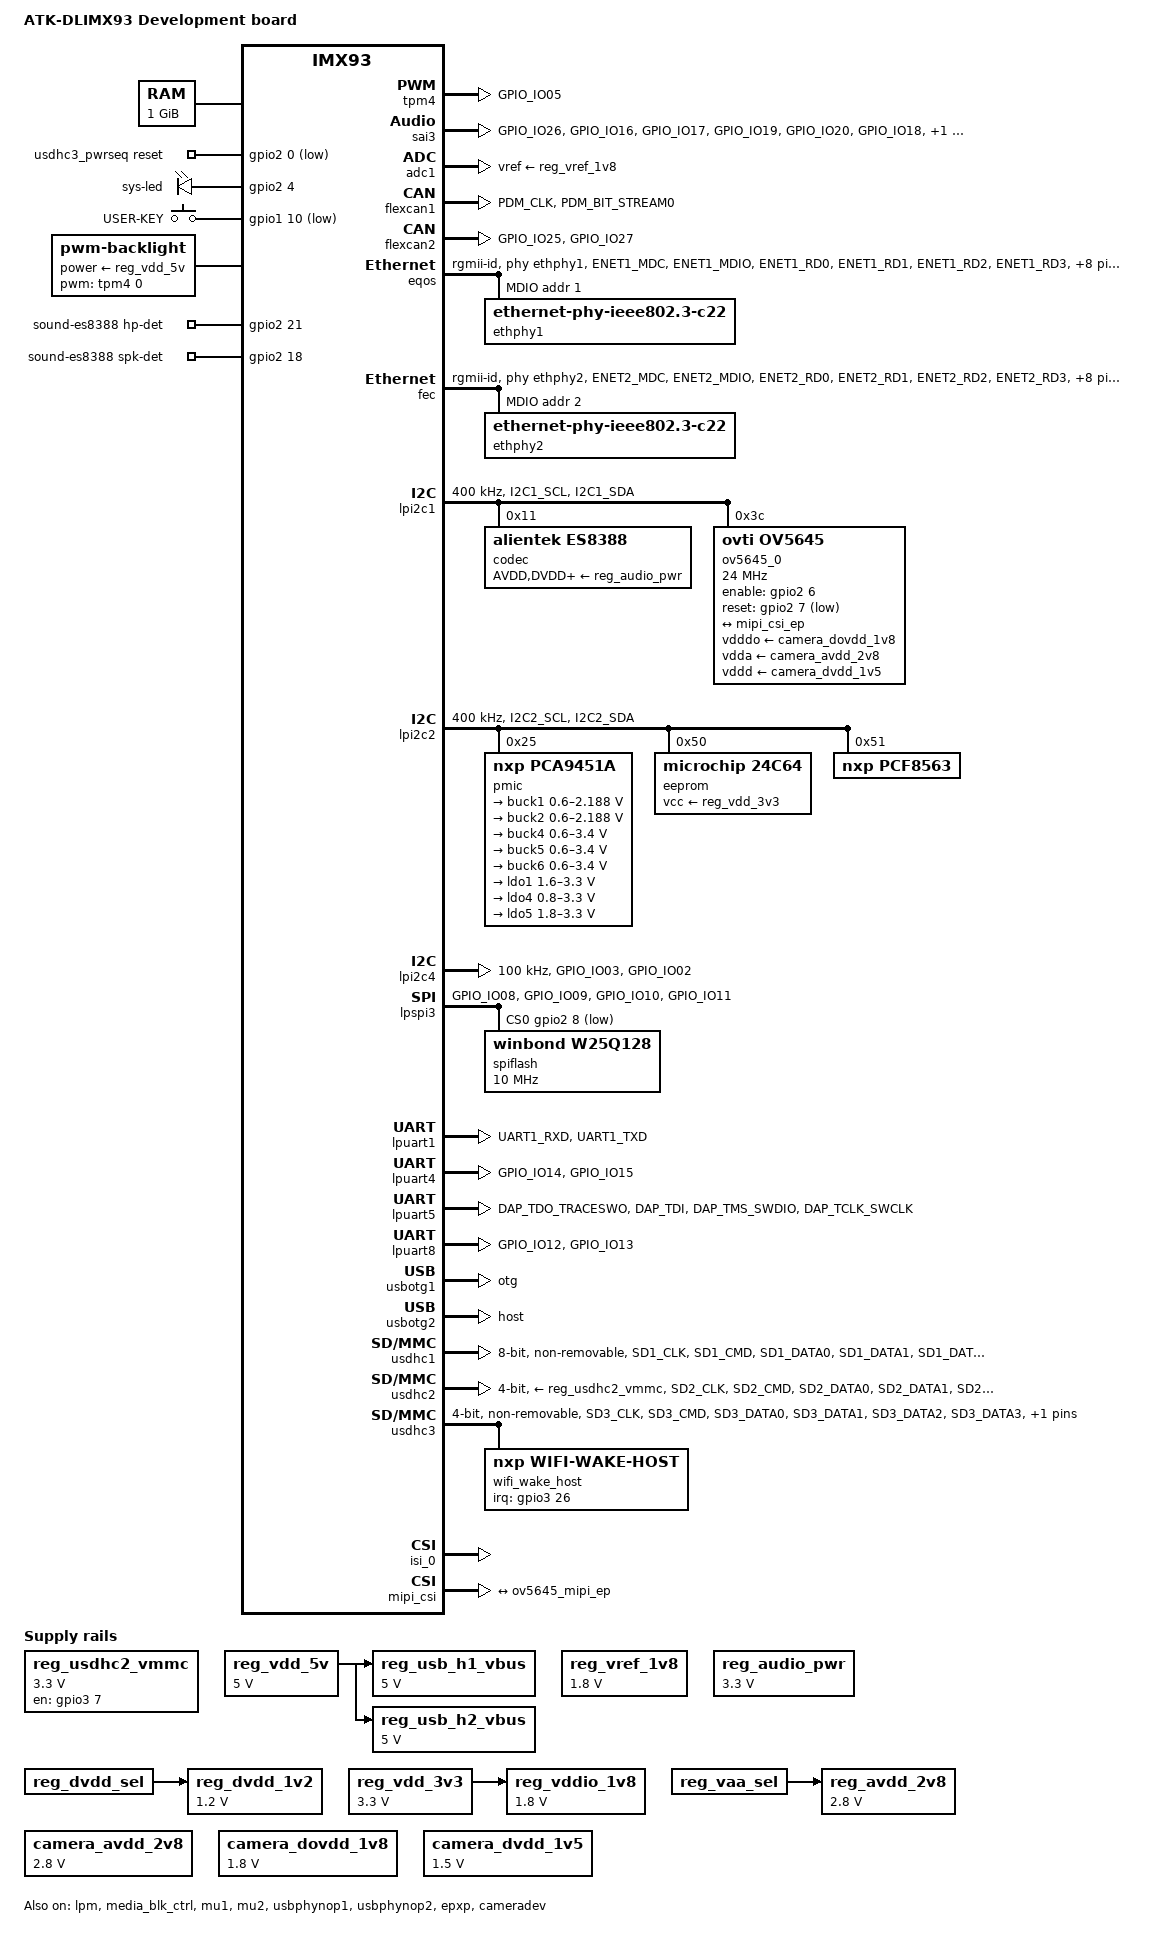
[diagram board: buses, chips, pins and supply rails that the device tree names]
// SPDX-License-Identifier: (GPL-2.0+ OR MIT)
/*
 * Copyright 2022 NXP
 */

/dts-v1/;

#include <dt-bindings/usb/pd.h>
#include "imx93.dtsi"

&ele_mu {
	memory-region = <&ele_reserved>;
};

/ {
	model = "ATK-DLIMX93 Development board";
	compatible = "fsl,imx93-11x11-atk", "fsl,imx93";

	chosen {
		stdout-path = &lpuart1;
	};


	memory@80000000 {
		device_type = "memory";
		/* 1G RAM */
		reg = <0x00000000 0x80000000 0x00000000 0x40000000>;
	};


	reserved-memory {
		#address-cells = <2>;
		#size-cells = <2>;
		ranges;


		linux,cma {
			compatible = "shared-dma-pool";
			reusable;
			alloc-ranges = <0 0x80000000 0 0x20000000>;
			size = <0 0x8000000>;
			linux,cma-default;
		};

		ethosu_mem: ethosu_region@a0000000 {
			compatible = "shared-dma-pool";
			reusable;
			reg = <0x0 0xa0000000 0x0 0x8000000>;
		};

		vdev0vring0: vdev0vring0@a8000000 {
			reg = <0 0xa8000000 0 0x8000>;
			no-map;
		};

		vdev0vring1: vdev0vring1@a8008000 {
			reg = <0 0xa8008000 0 0x8000>;
			no-map;
		};

		vdev1vring0: vdev1vring0@a8010000 {
			reg = <0 0xa8010000 0 0x8000>;
			no-map;
		};

		vdev1vring1: vdev1vring1@a8018000 {
			reg = <0 0xa8018000 0 0x8000>;
			no-map;
		};

		rsc_table: rsc-table@2021e000 {
			reg = <0 0x2021e000 0 0x1000>;
			no-map;
		};

		vdevbuffer: vdevbuffer@a8020000 {
			compatible = "shared-dma-pool";
			reg = <0 0xa8020000 0 0xA00000>;
			no-map;
		};

		ele_reserved: ele-reserved@a8120000 {
			compatible = "shared-dma-pool";
			reg = <0 0xa8120000 0 0x100000>;
			no-map;
		};


	};

	cm33: imx93-cm33 {
		compatible = "fsl,imx93-cm33";
		mbox-names = "tx", "rx", "rxdb";
		mboxes = <&mu1 0 1
			  &mu1 1 1
			  &mu1 3 1>;
		memory-region = <&vdevbuffer>, <&vdev0vring0>, <&vdev0vring1>,
				<&vdev1vring0>, <&vdev1vring1>, <&rsc_table>;
		fsl,startup-delay-ms = <500>;
	};

	ethosu {
		compatible = "arm,ethosu";
		fsl,cm33-proc = <&cm33>;
		memory-region = <&ethosu_mem>;
		power-domains = <&mlmix>;
	};

	reg_usdhc2_vmmc: regulator-usdhc2 {
		compatible = "regulator-fixed";
		pinctrl-names = "default";
		pinctrl-0 = <&pinctrl_reg_usdhc2_vmmc>;
		regulator-name = "VSD_3V3";
		regulator-min-microvolt = <3300000>;
		regulator-max-microvolt = <3300000>;
		gpio = <&gpio3 7 GPIO_ACTIVE_HIGH>;
		off-on-delay-us = <12000>;
		enable-active-high;
	};

	reg_vdd_5v: regulator-vdd-5v {
		compatible = "regulator-fixed";
		regulator-name = "reg_vdd_5v";
		regulator-min-microvolt = <5000000>;
		regulator-max-microvolt = <5000000>;
	};

	reg_vref_1v8: regulator-adc-vref {
		compatible = "regulator-fixed";
		regulator-name = "vref_1v8";
		regulator-min-microvolt = <1800000>;
		regulator-max-microvolt = <1800000>;
	};

	usdhc3_pwrseq: usdhc3_pwrseq {
		compatible = "mmc-pwrseq-simple";
		reset-gpios = <&gpio2 0 GPIO_ACTIVE_LOW>;
	};

	reg_audio_pwr: regulator-audio-pwr {
		compatible = "regulator-fixed";
		regulator-name = "audio-pwr";
		regulator-min-microvolt = <3300000>;
		regulator-max-microvolt = <3300000>;
		enable-active-high;
		regulator-always-on;
	};

	reg_dvdd_sel: regulator-dvdd_sel {
		compatible = "regulator-fixed";
		regulator-name = "DVDD_SEL";
		enable-active-high;
		startup-delay-us = <2000>;
	};

	reg_dvdd_1v2: regulator-dvdd {
		compatible = "regulator-fixed";
		regulator-name = "DVDD_1V2";
		regulator-min-microvolt = <1200000>;
		regulator-max-microvolt = <1200000>;
		enable-active-high;
		vin-supply = <&reg_dvdd_sel>;
	};

	reg_vdd_3v3: regulator-vdd {
		compatible = "regulator-fixed";
		regulator-name = "VDD_3V3";
		regulator-min-microvolt = <3300000>;
		regulator-max-microvolt = <3300000>;
		startup-delay-us = <4000>;
		enable-active-high;
	};

	reg_vddio_1v8: regulator-vddo {
		compatible = "regulator-fixed";
		regulator-name = "VDDIO_1V8";
		regulator-min-microvolt = <1800000>;
		regulator-max-microvolt = <1800000>;
		startup-delay-us = <4000>;
		enable-active-high;
		vin-supply = <&reg_vdd_3v3>;
	};

	reg_vaa_sel: regulator-vaa_sel {
		compatible = "regulator-fixed";
		regulator-name = "VAA_SEL";
		enable-active-high;
	};

	reg_avdd_2v8: regulator-avdd {
		compatible = "regulator-fixed";
		regulator-name = "AVDD_2V8";
		regulator-min-microvolt = <2800000>;
		regulator-max-microvolt = <2800000>;
		enable-active-high;
		vin-supply = <&reg_vaa_sel>;
	};

	camera_avdd_2v8: regulator-avdd {
		compatible = "regulator-fixed";
		regulator-name = "CAMERA_AVDD_2V8";
		regulator-min-microvolt = <2800000>;
		regulator-max-microvolt = <2800000>;
		regulator-always-on;
	};

	camera_dovdd_1v8: regulator-dovdd {
		compatible = "regulator-fixed";
		regulator-name = "CAMERA_DOVDD_1V8";
		regulator-min-microvolt = <1800000>;
		regulator-max-microvolt = <1800000>;
		regulator-always-on;
	};

	camera_dvdd_1v5: regulator-dvdd {
		compatible = "regulator-fixed";
		regulator-name = "CAMERA_DVDD_1V5";
		regulator-min-microvolt = <1500000>;
		regulator-max-microvolt = <1500000>;
		regulator-always-on;
	};

	reg_usb_h1_vbus: regulator-usb-h1-vbus {	//atk add
		compatible = "regulator-fixed";
		regulator-name = "usb_h1_vbus";
		regulator-min-microvolt = <5000000>;
		regulator-max-microvolt = <5000000>;
		regulator-always-on;
		vin-supply = <&reg_vdd_5v>;
	};

	reg_usb_h2_vbus: regulator-usb-h2-vbus {
		compatible = "regulator-fixed";
		regulator-name = "usb_h2_vbus";
		regulator-min-microvolt = <5000000>;
		regulator-max-microvolt = <5000000>;
		vin-supply = <&reg_vdd_5v> ;
		regulator-always-on;
	};

	leds {
		compatible = "gpio-leds";
		pinctrl-names = "default";
		pinctrl-0 = <&pinctrl_gpio_leds>;

		led {
			label = "sys-led";
			gpios = <&gpio2 4 GPIO_ACTIVE_HIGH>;
			linux,default-trigger = "heartbeat";
			default-state = "on";
		};
	};

	gpio_keys: gpio_keys@0 {
		compatible = "gpio-keys";
		pinctrl-names = "default";
		pinctrl-0 = <&pinctrl_gpio_keys>;
		#address-cells = <1>;
		#size-cells = <0>;
		autorepeat;

		key {
			label = "USER-KEY";
			linux,code = <114>;
			gpios = <&gpio1 10 GPIO_ACTIVE_LOW>;
			gpio-key,wakeup;
		};
	};

/*
	lcd_id select_id:
		atk_imx93 = 1,	//without alientek mipi dsi
		atk_imx93_mipi_dsi_5x5_720x1280 = 2,
		atk_imx93_mipi_dsi_5x5_1080x1920 = 3,
		atk_imx93_mipi_dsi_10x1_800x1280 = 4,
*/
	lcd_id {
        select_id = <2>;
    };


	backlight: backlight {
		compatible = "pwm-backlight";
		pwms = <&tpm4 0 50000 0>; //50us -> 20KHz
		power-supply = <&reg_vdd_5v>;
		status = "okay";

		brightness-levels = < 0  1  2  3  4  5  6  7  8  9
				     10 11 12 13 14 15 16 17 18 19
				     20 21 22 23 24 25 26 27 28 29
				     30 31 32 33 34 35 36 37 38 39
				     40 41 42 43 44 45 46 47 48 49
				     50 51 52 53 54 55 56 57 58 59
				     60 61 62 63 64 65 66 67 68 69
				     70 71 72 73 74 75 76 77 78 79
				     80 81 82 83 84 85 86 87 88 89
				     90 91 92 93 94 95 96 97 98 99
				    100>;
		default-brightness-level = <100>;
	};

    sound-es8388 {
        compatible = "fsl,imx-audio-es8388";
        model = "es8388-audio";
        audio-cpu = <&sai3>;
        audio-codec = <&codec>;
        hp-det-gpio = <&gpio2 21 GPIO_ACTIVE_HIGH>;
        spk-det-gpio = <&gpio2 18 GPIO_ACTIVE_HIGH>;
        codec-master;
        audio-routing =
            "Headphone Jack", "LOUT1",
            "Headphone Jack", "ROUT1",
            "Ext Spk", "LOUT2",
            "Ext Spk", "ROUT2",
            "LINPUT1", "Mic Jack",
            "LINPUT2", "Mic Jack",
            "RINPUT2", "Mic Jack",
            "Mic Jack", "AMIC",
            "Mic Jack", "Mic Bias",
            "Playback", "CPU-Playback",
            "CPU-Capture", "Capture";
    };
};

&tpm4 {
	pinctrl-names = "default";
	pinctrl-0 = <&pinctrl_tpm4>;
	status = "okay";
};

&sai3 {
	pinctrl-names = "default";
	pinctrl-0 = <&pinctrl_sai3>,<&pinctrl_sound_es8388>;
	assigned-clocks = <&clk IMX93_CLK_SAI3>;
	assigned-clock-parents = <&clk IMX93_CLK_AUDIO_PLL>;
	assigned-clock-rates = <12288000>;
	fsl,sai-mclk-direction-output;
	status = "okay";
};
	
&adc1 {
	vref-supply = <&reg_vref_1v8>;
	status = "okay";
};

&flexcan1 {
	pinctrl-names = "default";
	pinctrl-0 = <&pinctrl_flexcan1>;
	status = "okay";
};

&flexcan2 {
	pinctrl-names = "default";
	pinctrl-0 = <&pinctrl_flexcan2>;
	status = "okay";
};

&eqos {
	pinctrl-names = "default";
	pinctrl-0 = <&pinctrl_eqos>;
	phy-mode = "rgmii-id";
	phy-handle = <&ethphy1>;
	status = "okay";

	mdio {
		compatible = "snps,dwmac-mdio";
		#address-cells = <1>;
		#size-cells = <0>;
		clock-frequency = <5000000>;

		ethphy1: ethernet-phy@1 {
			compatible = "ethernet-phy-ieee802.3-c22";
			reg = <1>;
			eee-broken-1000t;
		};
	};
};

&fec {
	pinctrl-names = "default";
	pinctrl-0 = <&pinctrl_fec>;
	phy-mode = "rgmii-id";
	phy-handle = <&ethphy2>;
	fsl,magic-packet;
	status = "okay";

	mdio {
		#address-cells = <1>;
		#size-cells = <0>;
		clock-frequency = <5000000>;

		ethphy2: ethernet-phy@2 {
			compatible = "ethernet-phy-ieee802.3-c22";
			reg = <2>;
			eee-broken-1000t;
		};
	};
};


&lpm {
	soc-supply = <&buck1>;
	status = "okay";
};

/*
 * When add, delete or change any target device setting in &lpi2c1,
 * please synchronize the changes to the &i3c1 bus in imx93-11x11-evk-i3c.dts.
 */
&lpi2c1 {
	#address-cells = <1>;
	#size-cells = <0>;
	clock-frequency = <400000>;
	pinctrl-names = "default", "sleep";
	pinctrl-0 = <&pinctrl_lpi2c1>;
	pinctrl-1 = <&pinctrl_lpi2c1>;
	status = "okay";

    codec: es8388@11 {
        compatible = "alientek,es8388";
        reg = <0x11>;
        clocks = <&clk IMX93_CLK_SAI3_GATE>;
        clock-names = "mclk";
        AVDD-supply = <&reg_audio_pwr>;
        DVDD-supply = <&reg_audio_pwr>;
        HPVDD-supply = <&reg_audio_pwr>;
        PVDD-supply = <&reg_audio_pwr>;
    };


	ov5645_0: ov5645@3c {
		compatible = "ovti,ov5645";
		reg = <0x3c>;
		pinctrl-names = "default";
		pinctrl-0 = <&pinctrl_csi_gpio>;
		clocks = <&clk IMX93_CLK_CCM_CKO3>;
		clock-names = "xclk";
		assigned-clocks = <&clk IMX93_CLK_CCM_CKO3>;
		assigned-clock-parents = <&clk IMX93_CLK_24M>;
		assigned-clock-rates = <24000000>;
		csi_id = <0>;
		enable-gpios = <&gpio2 6 GPIO_ACTIVE_HIGH>;
		reset-gpios = <&gpio2 7 GPIO_ACTIVE_LOW>;
		clock-frequency = <24000000>;
		mclk = <24000000>;
		mclk_source = <0>;
		mipi_csi;
		vdddo-supply = <&camera_dovdd_1v8>;
		vdda-supply = <&camera_avdd_2v8>;
		vddd-supply = <&camera_dvdd_1v5>;
		status = "okay";

		port {
			ov5645_mipi_ep: endpoint {
				remote-endpoint = <&mipi_csi_ep>;
				data-lanes = <1 2>;
				clock-lanes = <0>;
				link-frequencies = /bits/ 64 <336000000>;
			};
		};
	};
};

&lpi2c2 {
	#address-cells = <1>;
	#size-cells = <0>;
	clock-frequency = <400000>;
	pinctrl-names = "default", "sleep";
	pinctrl-0 = <&pinctrl_lpi2c2>;
	pinctrl-1 = <&pinctrl_lpi2c2>;
	status = "okay";

	pmic@25 {
		compatible = "nxp,pca9451a";
		reg = <0x25>;
//		interrupt-parent = <&pcal6524>;
//		interrupts = <11 IRQ_TYPE_EDGE_FALLING>;

		regulators {
			buck1: BUCK1 {
				regulator-name = "BUCK1";
				regulator-min-microvolt = <600000>;
				regulator-max-microvolt = <2187500>;
				regulator-boot-on;
				regulator-always-on;
				regulator-ramp-delay = <3125>;
			};

			buck2: BUCK2 {
				regulator-name = "BUCK2";
				regulator-min-microvolt = <600000>;
				regulator-max-microvolt = <2187500>;
				regulator-boot-on;
				regulator-always-on;
				regulator-ramp-delay = <3125>;
			};

			buck4: BUCK4{
				regulator-name = "BUCK4";
				regulator-min-microvolt = <600000>;
				regulator-max-microvolt = <3400000>;
				regulator-boot-on;
				regulator-always-on;
			};

			buck5: BUCK5{
				regulator-name = "BUCK5";
				regulator-min-microvolt = <600000>;
				regulator-max-microvolt = <3400000>;
				regulator-boot-on;
				regulator-always-on;
			};

			buck6: BUCK6 {
				regulator-name = "BUCK6";
				regulator-min-microvolt = <600000>;
				regulator-max-microvolt = <3400000>;
				regulator-boot-on;
				regulator-always-on;
			};

			ldo1: LDO1 {
				regulator-name = "LDO1";
				regulator-min-microvolt = <1600000>;
				regulator-max-microvolt = <3300000>;
				regulator-boot-on;
				regulator-always-on;
			};

			ldo4: LDO4 {
				regulator-name = "LDO4";
				regulator-min-microvolt = <800000>;
				regulator-max-microvolt = <3300000>;
				regulator-boot-on;
				regulator-always-on;
			};

			ldo5: LDO5 {
				regulator-name = "LDO5";
				regulator-min-microvolt = <1800000>;
				regulator-max-microvolt = <3300000>;
				regulator-boot-on;
				regulator-always-on;
			};
		};
	};

	eeprom@50 {
		compatible = "microchip,24c64", "atmel,24c64";
		pagesize = <32>;
		reg = <0x50>;
		vcc-supply = <&reg_vdd_3v3>;
	};

	pcf8563@51 {
		compatible = "nxp,pcf8563";
		reg = <0x51>;
	};
};

&lpi2c4 {
	#address-cells = <1>;
	#size-cells = <0>;
	clock-frequency = <100000>;
	pinctrl-names = "default", "sleep";
	pinctrl-0 = <&pinctrl_lpi2c4>;
	pinctrl-1 = <&pinctrl_lpi2c4>;
	status = "okay";
};

&lpspi3 {
	fsl,spi-num-chipselects = <1>;
	pinctrl-names = "default", "sleep";
	pinctrl-0 = <&pinctrl_lpspi3>;
	pinctrl-1 = <&pinctrl_lpspi3>;
	cs-gpios = <&gpio2 8 GPIO_ACTIVE_LOW>;
	status = "okay";
	/delete-property/dmas;
    	/delete-property/dma-names;
	
	spiflash: w25q128@0 {
		compatible = "winbond,w25q128", "jedec,spi-nor";
		spi-max-frequency = <10000000>; //10MHz
		reg = <0>;
	};
};

&lpuart1 { /* console */
	pinctrl-names = "default";
	pinctrl-0 = <&pinctrl_uart1>;
	status = "okay";
	/delete-property/dmas;
    	/delete-property/dma-names;
};

&lpuart4 {
	pinctrl-names = "default";
	pinctrl-0 = <&pinctrl_uart4>;
	status = "okay";
	/delete-property/dmas;
    	/delete-property/dma-names;
};

&lpuart5 {
	/* BT */
	pinctrl-names = "default";
	pinctrl-0 = <&pinctrl_uart5>;
	status = "okay";
	/delete-property/dmas;
    	/delete-property/dma-names;
};

&lpuart8 {
	pinctrl-names = "default";
	pinctrl-0 = <&pinctrl_uart8>;
	status = "okay";
	/delete-property/dmas;
    	/delete-property/dma-names;
};

&media_blk_ctrl {
	status = "okay";
};

&mu1 {
	status = "okay";
};

&mu2 {
	status = "okay";
};

&usbphynop1 {
	vcc-supply = <&reg_usb_h1_vbus>;
	status = "okay";
};
		
&usbphynop2 {
	vcc-supply = <&reg_usb_h2_vbus>;
	status = "okay";
};

&usbotg1 {
	dr_mode = "otg";
	hnp-disable;
	srp-disable;
	adp-disable;
//	usb-role-switch;
	disable-over-current;
	samsung,picophy-pre-emp-curr-control = <3>;
	samsung,picophy-dc-vol-level-adjust = <7>;
	status = "okay";
};

&usbotg2 {
	dr_mode = "host";
	disable-over-current;
	status = "okay";
};

&usdhc1 {
	pinctrl-names = "default", "state_100mhz", "state_200mhz";
	pinctrl-0 = <&pinctrl_usdhc1>;
	pinctrl-1 = <&pinctrl_usdhc1>;
	pinctrl-2 = <&pinctrl_usdhc1>;
	bus-width = <8>;
	non-removable;
	status = "okay";
};

&usdhc2 {
	pinctrl-names = "default", "state_100mhz", "state_200mhz";
	pinctrl-0 = <&pinctrl_usdhc2>, <&pinctrl_usdhc2_gpio>;
	pinctrl-1 = <&pinctrl_usdhc2>, <&pinctrl_usdhc2_gpio>;
	pinctrl-2 = <&pinctrl_usdhc2>, <&pinctrl_usdhc2_gpio>;
	cd-gpios = <&gpio3 00 GPIO_ACTIVE_LOW>;
	vmmc-supply = <&reg_usdhc2_vmmc>;
	bus-width = <4>;
	status = "okay";
	no-sdio;
	no-mmc;
};

&usdhc3 {
	pinctrl-names = "default", "state_100mhz", "state_200mhz";
	pinctrl-0 = <&pinctrl_usdhc3>, <&pinctrl_usdhc3_wlan>;
	pinctrl-1 = <&pinctrl_usdhc3>, <&pinctrl_usdhc3_wlan>;
	pinctrl-2 = <&pinctrl_usdhc3>, <&pinctrl_usdhc3_wlan>;
	mmc-pwrseq = <&usdhc3_pwrseq>;
	bus-width = <4>;
	keep-power-in-suspend;
	non-removable;
	wakeup-source;
	fsl,sdio-async-interrupt-enabled;
	status = "okay";

	wifi_wake_host {
		compatible = "nxp,wifi-wake-host";
		interrupt-parent = <&gpio3>;
		interrupts = <26 IRQ_TYPE_LEVEL_LOW>;
		interrupt-names = "host-wake";
	};
};

&iomuxc {
	pinctrl_gpio_leds: gpio-leds {
		fsl,pins = <
			MX93_PAD_GPIO_IO04__GPIO2_IO04			0x31e
		>;
	};

	pinctrl_gpio_keys: gpio-keys {
		fsl,pins = <
			MX93_PAD_PDM_BIT_STREAM1__GPIO1_IO10	0x31e
		>;
	};



	pinctrl_tpm4: tpm4grp {
		fsl,pins = <
			MX93_PAD_GPIO_IO05__TPM4_CH0   			0x31e
		>;
	};


	pinctrl_flexcan1: flexcan1grp {
		fsl,pins = <
			MX93_PAD_PDM_CLK__CAN1_TX				0x139e
			MX93_PAD_PDM_BIT_STREAM0__CAN1_RX		0x139e
		>;
	};

	pinctrl_flexcan2: flexcan2grp {
		fsl,pins = <
			MX93_PAD_GPIO_IO25__CAN2_TX				0x139e
			MX93_PAD_GPIO_IO27__CAN2_RX				0x139e
		>;
	};

	pinctrl_lpi2c1: lpi2c1grp {
		fsl,pins = <
			MX93_PAD_I2C1_SCL__LPI2C1_SCL			0x40000b9e
			MX93_PAD_I2C1_SDA__LPI2C1_SDA			0x40000b9e
		>;
	};

	pinctrl_lpi2c2: lpi2c2grp {
		fsl,pins = <
			MX93_PAD_I2C2_SCL__LPI2C2_SCL			0x40000b9e
			MX93_PAD_I2C2_SDA__LPI2C2_SDA			0x40000b9e
		>;
	};

	pinctrl_lpi2c4: lpi2c4grp {
		fsl,pins = <
			MX93_PAD_GPIO_IO03__LPI2C4_SCL			0x40000b9e
			MX93_PAD_GPIO_IO02__LPI2C4_SDA			0x40000b9e
		>;
	};

	pinctrl_lpspi3: lpspi3grp {
		fsl,pins = <
			MX93_PAD_GPIO_IO08__GPIO2_IO08			0x3fe
			MX93_PAD_GPIO_IO09__LPSPI3_SIN			0x3fe
			MX93_PAD_GPIO_IO10__LPSPI3_SOUT			0x3fe
			MX93_PAD_GPIO_IO11__LPSPI3_SCK			0x3fe
		>;
	};

	pinctrl_eqos: eqosgrp {
		fsl,pins = <
			MX93_PAD_ENET1_MDC__ENET_QOS_MDC						0x57e
			MX93_PAD_ENET1_MDIO__ENET_QOS_MDIO						0x57e
			MX93_PAD_ENET1_RD0__ENET_QOS_RGMII_RD0					0x57e
			MX93_PAD_ENET1_RD1__ENET_QOS_RGMII_RD1					0x57e
			MX93_PAD_ENET1_RD2__ENET_QOS_RGMII_RD2					0x57e
			MX93_PAD_ENET1_RD3__ENET_QOS_RGMII_RD3					0x57e
			MX93_PAD_ENET1_RXC__CCM_ENET_QOS_CLOCK_GENERATE_RX_CLK	0x5fe
			MX93_PAD_ENET1_RX_CTL__ENET_QOS_RGMII_RX_CTL			0x57e
			MX93_PAD_ENET1_TD0__ENET_QOS_RGMII_TD0					0x57e
			MX93_PAD_ENET1_TD1__ENET_QOS_RGMII_TD1					0x57e
			MX93_PAD_ENET1_TD2__ENET_QOS_RGMII_TD2					0x57e
			MX93_PAD_ENET1_TD3__ENET_QOS_RGMII_TD3					0x57e
			MX93_PAD_ENET1_TXC__CCM_ENET_QOS_CLOCK_GENERATE_TX_CLK	0x5fe
			MX93_PAD_ENET1_TX_CTL__ENET_QOS_RGMII_TX_CTL			0x57e
		>;
	};

	pinctrl_fec: fecgrp {
		fsl,pins = <
			MX93_PAD_ENET2_MDC__ENET1_MDC				0x57e
			MX93_PAD_ENET2_MDIO__ENET1_MDIO				0x57e
			MX93_PAD_ENET2_RD0__ENET1_RGMII_RD0			0x57e
			MX93_PAD_ENET2_RD1__ENET1_RGMII_RD1			0x57e
			MX93_PAD_ENET2_RD2__ENET1_RGMII_RD2			0x57e
			MX93_PAD_ENET2_RD3__ENET1_RGMII_RD3			0x57e
			MX93_PAD_ENET2_RXC__ENET1_RGMII_RXC			0x5fe
			MX93_PAD_ENET2_RX_CTL__ENET1_RGMII_RX_CTL	0x57e
			MX93_PAD_ENET2_TD0__ENET1_RGMII_TD0			0x57e
			MX93_PAD_ENET2_TD1__ENET1_RGMII_TD1			0x57e
			MX93_PAD_ENET2_TD2__ENET1_RGMII_TD2			0x57e
			MX93_PAD_ENET2_TD3__ENET1_RGMII_TD3			0x57e
			MX93_PAD_ENET2_TXC__ENET1_RGMII_TXC			0x5fe
			MX93_PAD_ENET2_TX_CTL__ENET1_RGMII_TX_CTL	0x57e
		>;
	};

	pinctrl_uart1: uart1grp {
		fsl,pins = <
			MX93_PAD_UART1_RXD__LPUART1_RX				0x31e
			MX93_PAD_UART1_TXD__LPUART1_TX				0x31e
		>;
	};

	pinctrl_uart4: uart4grp {
		fsl,pins = <
			MX93_PAD_GPIO_IO14__LPUART4_TX				0x31e
			MX93_PAD_GPIO_IO15__LPUART4_RX				0x31e
		>;
	};

	pinctrl_uart5: uart5grp {
		fsl,pins = <
			MX93_PAD_DAP_TDO_TRACESWO__LPUART5_TX		0x31e
			MX93_PAD_DAP_TDI__LPUART5_RX				0x31e
			MX93_PAD_DAP_TMS_SWDIO__LPUART5_RTS_B		0x31e
			MX93_PAD_DAP_TCLK_SWCLK__LPUART5_CTS_B		0x31e
		>;
	};

	pinctrl_uart8: uart8grp {
		fsl,pins = <
			MX93_PAD_GPIO_IO12__LPUART8_TX				0x31e
			MX93_PAD_GPIO_IO13__LPUART8_RX				0x31e
		>;
	};

	pinctrl_usdhc1: usdhc1grp {
		fsl,pins = <
			MX93_PAD_SD1_CLK__USDHC1_CLK			0x15fe
			MX93_PAD_SD1_CMD__USDHC1_CMD			0x13fe
			MX93_PAD_SD1_DATA0__USDHC1_DATA0		0x13fe
			MX93_PAD_SD1_DATA1__USDHC1_DATA1		0x13fe
			MX93_PAD_SD1_DATA2__USDHC1_DATA2		0x13fe
			MX93_PAD_SD1_DATA3__USDHC1_DATA3		0x13fe
			MX93_PAD_SD1_DATA4__USDHC1_DATA4		0x13fe
			MX93_PAD_SD1_DATA5__USDHC1_DATA5		0x13fe
			MX93_PAD_SD1_DATA6__USDHC1_DATA6		0x13fe
			MX93_PAD_SD1_DATA7__USDHC1_DATA7		0x13fe
			MX93_PAD_SD1_STROBE__USDHC1_STROBE		0x15fe
		>;
	};

	pinctrl_reg_usdhc2_vmmc: regusdhc2vmmcgrp {
		fsl,pins = <
			MX93_PAD_SD2_RESET_B__GPIO3_IO07		0x31e
		>;
	};

	pinctrl_usdhc2_gpio: usdhc2gpiogrp {
		fsl,pins = <
			MX93_PAD_SD2_CD_B__GPIO3_IO00			0x31e
		>;
	};

	pinctrl_usdhc2: usdhc2grp {
		fsl,pins = <
			MX93_PAD_SD2_CLK__USDHC2_CLK			0x15fe
			MX93_PAD_SD2_CMD__USDHC2_CMD			0x13fe
			MX93_PAD_SD2_DATA0__USDHC2_DATA0		0x13fe
			MX93_PAD_SD2_DATA1__USDHC2_DATA1		0x13fe
			MX93_PAD_SD2_DATA2__USDHC2_DATA2		0x13fe
			MX93_PAD_SD2_DATA3__USDHC2_DATA3		0x13fe
			MX93_PAD_SD2_VSELECT__USDHC2_VSELECT	0x51e
		>;
	};

	pinctrl_usdhc3: usdhc3grp {
		fsl,pins = <
			MX93_PAD_SD3_CLK__USDHC3_CLK			0x15fe
			MX93_PAD_SD3_CMD__USDHC3_CMD			0x13fe
			MX93_PAD_SD3_DATA0__USDHC3_DATA0		0x13fe
			MX93_PAD_SD3_DATA1__USDHC3_DATA1		0x13fe
			MX93_PAD_SD3_DATA2__USDHC3_DATA2		0x13fe
			MX93_PAD_SD3_DATA3__USDHC3_DATA3		0x13fe
		>;
	};

	pinctrl_usdhc3_wlan: usdhc3wlangrp {
		fsl,pins = <
			MX93_PAD_CCM_CLKO1__GPIO3_IO26			0x31e
		>;
	};

	pinctrl_sai3: sai3grp {
		fsl,pins = <
			MX93_PAD_GPIO_IO26__SAI3_TX_SYNC		0x31e
			MX93_PAD_GPIO_IO16__SAI3_TX_BCLK		0x31e
			MX93_PAD_GPIO_IO17__SAI3_MCLK			0x31e
			MX93_PAD_GPIO_IO19__SAI3_TX_DATA00		0x31e
			MX93_PAD_GPIO_IO20__SAI3_RX_DATA00		0x31e
		>;
	};

	pinctrl_sound_es8388: soundes8388grp {
		fsl,pins = <
			MX93_PAD_GPIO_IO18__GPIO2_IO18   		0x31e	/* set hp_jd as gpio*/
			MX93_PAD_GPIO_IO21__GPIO2_IO21			0x31e	/* set spk_jd as gpio*/
		>;
	};

	pinctrl_csi_gpio: csigpiogpr {
		fsl,pins = <
			MX93_PAD_GPIO_IO06__GPIO2_IO06			0x31e 	/* pwdn */
			MX93_PAD_GPIO_IO07__GPIO2_IO07			0x31e 	/* rst */
		>;
	};
};

&epxp {
	status = "okay";
};

&cameradev {
	status = "okay";
};

&isi_0 {
	status = "okay";

	cap_device {
		status = "okay";
	};
};

&mipi_csi {
	#address-cells = <1>;
	#size-cells = <0>;
	status = "okay";

	port@0 {
		reg = <0>;
		mipi_csi_ep: endpoint {
			remote-endpoint = <&ov5645_mipi_ep>;
			data-lanes = <2>;
			cfg-clk-range = <28>;
			hs-clk-range = <0x2b>;
			bus-type = <4>;
		};
	};	
};
